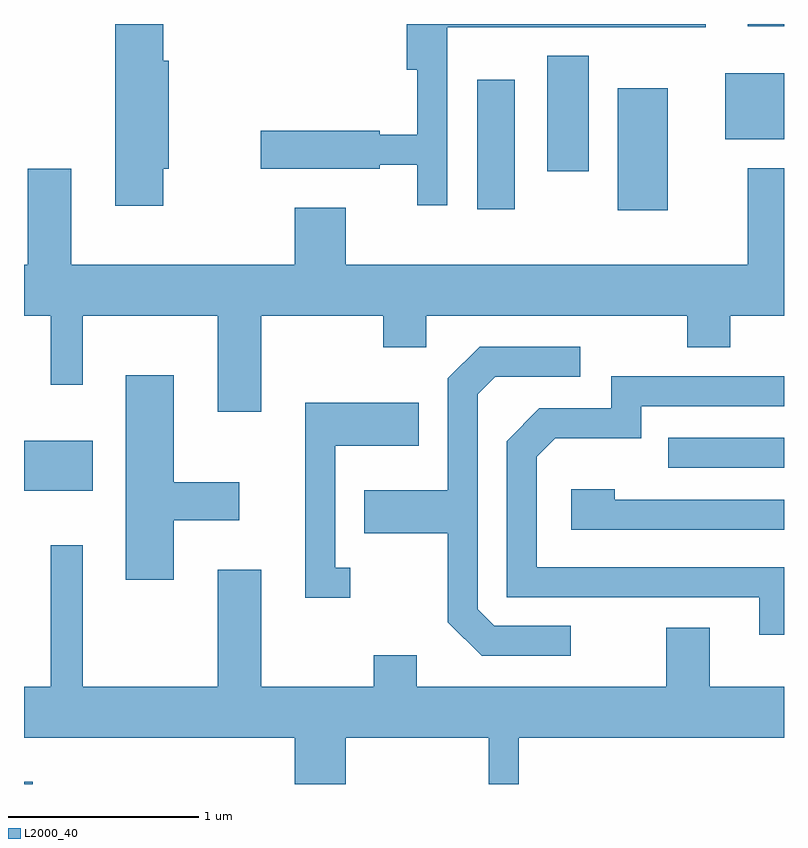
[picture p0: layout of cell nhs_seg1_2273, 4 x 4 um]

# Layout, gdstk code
import gdstk
lib = gdstk.Library(unit=1e-6, precision=1e-09)
def R(c, l, rs):  # rectangles x0, y0, x1, y1
    for r in rs: c.add(gdstk.rectangle(r[:2], r[2:], *l))
def P(c, l, *ps):  # polygons
    for p in ps: c.add(gdstk.Polygon(p, *l))
L2000_40 = (2000, 40)

nhs_seg1_2273 = lib.new_cell('nhs_seg1_2273')
R(nhs_seg1_2273, L2000_40, [(253.611,963.712,253.658,963.724), (253.611,965.256,253.974,965.519), (257.003,965.376,257.611,965.534), (256.736,966.731,256.999,967.374), (255.996,966.736,256.194,967.419), (256.366,966.936,256.584,967.544), (257.301,967.106,257.611,967.454), (257.421,967.701,257.611,967.712)])
P(nhs_seg1_2273, L2000_40, [(254.344,966.951),(254.374,966.951),(254.374,967.519),(254.344,967.519),(254.344,967.712),(254.091,967.712),(254.091,966.756),(254.344,966.756)],
  [(255.839,967.696),(257.198,967.696),(257.198,967.712),(255.626,967.712),(255.626,967.471),(255.681,967.471),(255.681,967.129),(255.484,967.129),(255.484,967.149),(254.856,967.149),(254.856,966.951),(255.484,966.951),(255.484,966.971),(255.681,966.971),(255.681,966.758),(255.839,966.758)],
  [(254.859,966.176),(255.501,966.176),(255.501,966.011),(255.729,966.011),(255.729,966.176),(257.101,966.176),(257.101,966.011),(257.329,966.011),(257.329,966.176),(257.611,966.176),(257.611,966.954),(257.421,966.954),(257.421,966.444),(255.304,966.444),(255.304,966.744),(255.036,966.744),(255.036,966.444),(253.859,966.444),(253.859,966.949),(253.631,966.949),(253.631,966.444),(253.611,966.444),(253.611,966.176),(253.751,966.176),(253.751,965.813),(253.919,965.813),(253.919,966.176),(254.631,966.176),(254.631,965.671),(254.859,965.671)],
  [(256.488,964.544),(256.087,964.544),(255.999,964.632),(255.999,965.764),(256.092,965.856),(256.538,965.856),(256.538,966.014),(256.009,966.014),(255.841,965.847),(255.841,965.259),(255.401,965.259),(255.401,965.031),(255.841,965.031),(255.841,964.564),(256.019,964.386),(256.488,964.386)],
  [(254.399,965.101),(254.744,965.101),(254.744,965.299),(254.399,965.299),(254.399,965.864),(254.146,965.864),(254.146,964.786),(254.399,964.786)],
  [(257.611,964.854),(256.309,964.854),(256.309,965.434),(256.407,965.531),(256.859,965.531),(256.859,965.701),(257.611,965.701),(257.611,965.859),(256.701,965.859),(256.701,965.689),(256.324,965.689),(256.151,965.517),(256.151,964.696),(257.481,964.696),(257.481,964.498),(257.611,964.498)],
  [(255.328,964.849),(255.249,964.849),(255.249,965.491),(255.689,965.491),(255.689,965.719),(255.091,965.719),(255.091,964.691),(255.328,964.691)],
  [(257.611,965.209),(256.719,965.209),(256.719,965.264),(256.491,965.264),(256.491,965.051),(257.611,965.051)],
  [(253.751,964.968),(253.751,964.224),(253.611,964.224),(253.611,963.956),(255.036,963.956),(255.036,963.712),(255.304,963.712),(255.304,963.956),(256.056,963.956),(256.056,963.712),(256.214,963.712),(256.214,963.956),(257.611,963.956),(257.611,964.224),(257.219,964.224),(257.219,964.534),(256.991,964.534),(256.991,964.224),(255.679,964.224),(255.679,964.389),(255.451,964.389),(255.451,964.224),(254.859,964.224),(254.859,964.839),(254.631,964.839),(254.631,964.224),(253.919,964.224),(253.919,964.968)])

lib.write_gds('nhs_seg1_2273.gds')
